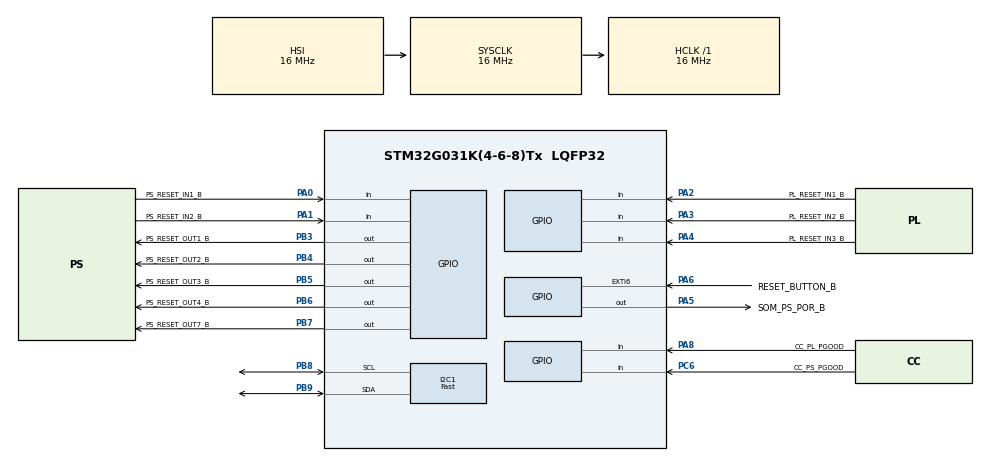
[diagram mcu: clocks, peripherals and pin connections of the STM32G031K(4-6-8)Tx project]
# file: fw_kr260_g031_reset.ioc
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I2C1.I2C_Speed_Mode=I2C_Fast
I2C1.OwnAddress=0x11
I2C1.Timing=0x00300617
Mcu.Family=STM32G0
Mcu.Name=STM32G031K(4-6-8)Tx
Mcu.Package=LQFP32
NVIC.EXTI4_15_IRQn=true\:0\:0\:false\:false\:true\:true\:true\:true
NVIC.I2C1_IRQn=true\:0\:0\:false\:false\:true\:true\:true\:true
PA0.GPIO_Label=PS_RESET_IN1_B
PA0.Signal=GPIO_Input
PA1.GPIO_Label=PS_RESET_IN2_B
PA1.Signal=GPIO_Input
PA2.GPIO_Label=PL_RESET_IN1_B
PA2.Signal=GPIO_Input
PA3.GPIO_Label=PL_RESET_IN2_B
PA3.Signal=GPIO_Input
PA4.GPIO_Label=PL_RESET_IN3_B
PA4.Signal=GPIO_Input
PA5.GPIO_Label=SOM_PS_POR_B
PA5.GPIO_ModeDefaultOutputPP=GPIO_MODE_OUTPUT_OD
PA5.GPIO_PuPd=GPIO_NOPULL
PA5.Signal=GPIO_Output
PA6.GPIO_Label=RESET_BUTTON_B
PA6.GPIO_ModeDefaultEXTI=GPIO_MODE_IT_RISING_FALLING
PA6.GPIO_PuPd=GPIO_PULLUP
PA6.Signal=GPXTI6
PA8.GPIO_Label=CC_PL_PGOOD
PA8.GPIO_PuPd=GPIO_PULLUP
PA8.Signal=GPIO_Input
PB3.GPIO_Label=PS_RESET_OUT1_B
PB3.GPIO_ModeDefaultOutputPP=GPIO_MODE_OUTPUT_OD
PB3.GPIO_PuPd=GPIO_NOPULL
PB3.Signal=GPIO_Output
PB4.GPIO_Label=PS_RESET_OUT2_B
PB4.GPIO_ModeDefaultOutputPP=GPIO_MODE_OUTPUT_OD
PB4.GPIO_PuPd=GPIO_NOPULL
PB4.Signal=GPIO_Output
PB5.GPIO_Label=PS_RESET_OUT3_B
PB5.GPIO_ModeDefaultOutputPP=GPIO_MODE_OUTPUT_OD
PB5.GPIO_PuPd=GPIO_NOPULL
PB5.Signal=GPIO_Output
PB6.GPIO_Label=PS_RESET_OUT4_B
PB6.GPIO_ModeDefaultOutputPP=GPIO_MODE_OUTPUT_OD
PB6.GPIO_PuPd=GPIO_NOPULL
PB6.Signal=GPIO_Output
PB7.GPIO_Label=PS_RESET_OUT7_B
PB7.GPIO_ModeDefaultOutputPP=GPIO_MODE_OUTPUT_OD
PB7.GPIO_PuPd=GPIO_NOPULL
PB7.Signal=GPIO_Output
PB8.Mode=I2C
PB8.Signal=I2C1_SCL
PB9.Mode=I2C
PB9.Signal=I2C1_SDA
PC6.GPIO_Label=CC_PS_PGOOD
PC6.Signal=GPIO_Input
ProjectManager.HeapSize=0x200
ProjectManager.StackSize=0x400
ProjectManager.TargetToolchain=CMake
RCC.AHBFreq_Value=16000000
RCC.CortexFreq_Value=16000000
RCC.EXTERNAL_CLOCK_VALUE=12288000
RCC.HCLKFreq_Value=16000000
RCC.HSE_VALUE=8000000
RCC.HSI_VALUE=16000000
RCC.LSE_VALUE=32768
RCC.SYSCLKFreq_VALUE=16000000
RCC.VCOOutputFreq_Value=128000000
board=NUCLEO-G031K8

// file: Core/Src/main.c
/* USER CODE BEGIN Header */
/**
 ******************************************************************************
 * @file           : main.c
 * @brief          : Main program body
 ******************************************************************************
 * @attention
 *
 * Copyright (c) 2026 STMicroelectronics.
 * All rights reserved.
 *
 * This software is licensed under terms that can be found in the LICENSE file
 * in the root directory of this software component.
 * If no LICENSE file comes with this software, it is provided AS-IS.
 *
 ******************************************************************************
 */
/* USER CODE END Header */
#include "main.h"

/* USER CODE BEGIN PTD */
typedef enum {
  RESET_CTRL_I2C_RECOVER_NONE = 0U,
  RESET_CTRL_I2C_RECOVER_LISTEN_ENABLE_FAIL = 1U,
  RESET_CTRL_I2C_RECOVER_LISTEN_BAD_STATE = 2U,
  RESET_CTRL_I2C_RECOVER_ADDR_RX_SETUP_FAIL = 3U,
  RESET_CTRL_I2C_RECOVER_ADDR_TX_SETUP_FAIL = 4U,
  RESET_CTRL_I2C_RECOVER_RX_DATA_SETUP_FAIL = 5U,
  RESET_CTRL_I2C_RECOVER_ERROR_CALLBACK = 6U
} ResetController_I2CRecoverReason;

/* USER CODE END PTD */

/* USER CODE BEGIN PD */
#define SLG_BASE_I2C_ADDRESS_7BIT 0x10U
#define SLG_BLOCK1_I2C_ADDRESS_7BIT 0x11U
#define SLG_VIRTUAL_OUT_REG_ADDR 0x01DBU
#define SLG_VIRTUAL_OUT_WORD_ADDR 0xDBU
#define SLG_VIRTUAL_OUT_MASK 0x7FU
#define SLG_VIRTUAL_OUT_DEFAULT 0x7FU
#define RESET_BUTTON_DEBOUNCE_MS 25U
#define RESET_OUTPUT_RELEASE_DELAY_MS 25U

#define SLG_VOUT0_BIT (1U << 0)
#define SLG_VOUT1_BIT (1U << 1)
#define SLG_VOUT2_BIT (1U << 2)
#define SLG_VOUT3_BIT (1U << 3)
#define SLG_VOUT6_BIT (1U << 6)

/* USER CODE END PD */

I2C_HandleTypeDef hi2c1;

/* USER CODE BEGIN PV */
static volatile uint16_t reset_ctrl_reg_index = SLG_VIRTUAL_OUT_REG_ADDR;
static volatile uint16_t reset_ctrl_i2c_block_base = 0U;
static volatile uint8_t reset_ctrl_rx_is_word_address = 1U;
static volatile uint8_t reset_ctrl_rx_byte = 0U;
static volatile uint8_t reset_ctrl_tx_byte = 0U;
static volatile uint8_t reset_ctrl_virtual_out = SLG_VIRTUAL_OUT_DEFAULT;
static volatile uint8_t reset_ctrl_i2c_recover_requested = 0U;
static volatile uint32_t reset_ctrl_i2c_recover_count = 0U;
static volatile uint32_t reset_ctrl_i2c_last_error = 0U;
static volatile uint32_t reset_ctrl_i2c_last_isr = 0U;
static volatile uint32_t reset_ctrl_i2c_last_state = 0U;
static volatile uint8_t reset_ctrl_i2c_last_recover_reason = RESET_CTRL_I2C_RECOVER_NONE;
static volatile uint8_t reset_ctrl_i2c_last_hal_status = HAL_OK;
static volatile uint8_t reset_button_sample = 0U;
static volatile uint8_t reset_button_debounced = 0U;
static volatile uint32_t reset_button_last_change_tick = 0U;
static volatile uint32_t reset_outputs_release_tick = 0U;
static volatile uint8_t reset_outputs_release_pending = 0U;

/* USER CODE END PV */

void SystemClock_Config(void);
static void MX_GPIO_Init(void);
static void MX_I2C1_Init(void);
/* USER CODE BEGIN PFP */
static void ResetController_InitDebounce(void);
static void ResetController_Service(void);
static void ResetController_StartI2CListen(void);
static void ResetController_ServiceI2C(void);
static void ResetController_RequestI2CRecover(
    I2C_HandleTypeDef *hi2c, ResetController_I2CRecoverReason reason,
    HAL_StatusTypeDef hal_status);
static uint8_t ResetController_ReadRegister(uint16_t reg);
static void ResetController_WriteRegister(uint16_t reg, uint8_t value);
static uint16_t ResetController_NormalizeRegisterAddress(uint16_t reg);
static uint16_t ResetController_BlockBaseFromAddress(uint16_t addr_match_code);
static void ResetController_ApplyOutputs(void);
static uint8_t ResetController_ReadPinHigh(GPIO_TypeDef *gpio_port,
                                           uint16_t gpio_pin);
static void ResetController_SetOpenDrainReset(GPIO_TypeDef *gpio_port,
                                              uint16_t gpio_pin,
                                              uint8_t release_reset);
static void ResetController_HandleResetButtonInterrupt(void);
static uint8_t ResetController_ResetButtonReleased(void);
static uint8_t ResetController_PsPorReleased(void);
static uint8_t ResetController_PsOutputsMayRelease(void);

/* USER CODE END PFP */

int main(void) {

  /* MCU Configuration--------------------------------------------------------*/

  /* Reset of all peripherals, Initializes the Flash interface and the Systick.
   */
  HAL_Init();

  /* Configure the system clock */
  SystemClock_Config();

  /* Initialize all configured peripherals */
  MX_GPIO_Init();
  MX_I2C1_Init();
  /* USER CODE BEGIN 2 */
  ResetController_InitDebounce();
  ResetController_ApplyOutputs();
  ResetController_StartI2CListen();

  HAL_GPIO_WritePin(SOM_PS_POR_B_GPIO_Port, SOM_PS_POR_B_Pin, GPIO_PIN_RESET);
  HAL_Delay(RESET_OUTPUT_RELEASE_DELAY_MS);
  ResetController_ApplyOutputs();

  /* USER CODE END 2 */

  /* Infinite loop */
  while (1) {

    /* USER CODE BEGIN 3 */
    ResetController_Service();
  }
  /* USER CODE END 3 */
}

void SystemClock_Config(void) {
  RCC_OscInitTypeDef RCC_OscInitStruct = {0};
  RCC_ClkInitTypeDef RCC_ClkInitStruct = {0};

  /** Configure the main internal regulator output voltage
   */
  HAL_PWREx_ControlVoltageScaling(PWR_REGULATOR_VOLTAGE_SCALE1);

  /** Initializes the RCC Oscillators according to the specified parameters
   * in the RCC_OscInitTypeDef structure.
   */
  RCC_OscInitStruct.OscillatorType = RCC_OSCILLATORTYPE_HSI;
  RCC_OscInitStruct.HSIState = RCC_HSI_ON;
  RCC_OscInitStruct.HSIDiv = RCC_HSI_DIV1;
  RCC_OscInitStruct.HSICalibrationValue = RCC_HSICALIBRATION_DEFAULT;
  RCC_OscInitStruct.PLL.PLLState = RCC_PLL_NONE;
  if (HAL_RCC_OscConfig(&RCC_OscInitStruct) != HAL_OK) {
    Error_Handler();
  }

  /** Initializes the CPU, AHB and APB buses clocks
   */
  RCC_ClkInitStruct.ClockType =
      RCC_CLOCKTYPE_HCLK | RCC_CLOCKTYPE_SYSCLK | RCC_CLOCKTYPE_PCLK1;
  RCC_ClkInitStruct.SYSCLKSource = RCC_SYSCLKSOURCE_HSI;
  RCC_ClkInitStruct.AHBCLKDivider = RCC_SYSCLK_DIV1;
  RCC_ClkInitStruct.APB1CLKDivider = RCC_HCLK_DIV1;

  if (HAL_RCC_ClockConfig(&RCC_ClkInitStruct, FLASH_LATENCY_0) != HAL_OK) {
    Error_Handler();
  }
}

static void MX_I2C1_Init(void) {

  hi2c1.Instance = I2C1;
  hi2c1.Init.Timing = 0x00300617;
  hi2c1.Init.OwnAddress1 = 0x22;
  hi2c1.Init.AddressingMode = I2C_ADDRESSINGMODE_7BIT;
  hi2c1.Init.DualAddressMode = I2C_DUALADDRESS_DISABLE;
  hi2c1.Init.OwnAddress2 = 0;
  hi2c1.Init.OwnAddress2Masks = I2C_OA2_NOMASK;
  hi2c1.Init.GeneralCallMode = I2C_GENERALCALL_DISABLE;
  hi2c1.Init.NoStretchMode = I2C_NOSTRETCH_DISABLE;
  if (HAL_I2C_Init(&hi2c1) != HAL_OK) {
    Error_Handler();
  }

  /** Configure Analogue filter
   */
  if (HAL_I2CEx_ConfigAnalogFilter(&hi2c1, I2C_ANALOGFILTER_ENABLE) != HAL_OK) {
    Error_Handler();
  }

  /** Configure Digital filter
   */
  if (HAL_I2CEx_ConfigDigitalFilter(&hi2c1, 0) != HAL_OK) {
    Error_Handler();
  }
}

static void MX_GPIO_Init(void) {
  GPIO_InitTypeDef GPIO_InitStruct = {0};

  /* GPIO Ports Clock Enable */
  __HAL_RCC_GPIOB_CLK_ENABLE();
  __HAL_RCC_GPIOA_CLK_ENABLE();
  __HAL_RCC_GPIOC_CLK_ENABLE();

  /*Configure GPIO pin Output Level */
  HAL_GPIO_WritePin(SOM_PS_POR_B_GPIO_Port, SOM_PS_POR_B_Pin, GPIO_PIN_RESET);

  /*Configure GPIO pin Output Level */
  HAL_GPIO_WritePin(GPIOB,
                    PS_RESET_OUT1_B_Pin | PS_RESET_OUT2_B_Pin |
                        PS_RESET_OUT3_B_Pin | PS_RESET_OUT4_B_Pin |
                        PS_RESET_OUT7_B_Pin,
                    GPIO_PIN_RESET);

  /*Configure GPIO pins : PS_RESET_IN1_B_Pin PS_RESET_IN2_B_Pin
     PL_RESET_IN1_B_Pin PL_RESET_IN2_B_Pin PL_RESET_IN3_B_Pin */
  GPIO_InitStruct.Pin = PS_RESET_IN1_B_Pin | PS_RESET_IN2_B_Pin |
                        PL_RESET_IN1_B_Pin | PL_RESET_IN2_B_Pin |
                        PL_RESET_IN3_B_Pin;
  GPIO_InitStruct.Mode = GPIO_MODE_INPUT;
  GPIO_InitStruct.Pull = GPIO_NOPULL;
  HAL_GPIO_Init(GPIOA, &GPIO_InitStruct);

  /*Configure GPIO pin : SOM_PS_POR_B_Pin */
  GPIO_InitStruct.Pin = SOM_PS_POR_B_Pin;
  GPIO_InitStruct.Mode = GPIO_MODE_OUTPUT_OD;
  GPIO_InitStruct.Pull = GPIO_NOPULL;
  GPIO_InitStruct.Speed = GPIO_SPEED_FREQ_LOW;
  HAL_GPIO_Init(SOM_PS_POR_B_GPIO_Port, &GPIO_InitStruct);

  /*Configure GPIO pin : RESET_BUTTON_B_Pin */
  GPIO_InitStruct.Pin = RESET_BUTTON_B_Pin;
  GPIO_InitStruct.Mode = GPIO_MODE_IT_RISING_FALLING;
  GPIO_InitStruct.Pull = GPIO_PULLUP;
  HAL_GPIO_Init(RESET_BUTTON_B_GPIO_Port, &GPIO_InitStruct);

  /*Configure GPIO pin : CC_PL_PGOOD_Pin */
  GPIO_InitStruct.Pin = CC_PL_PGOOD_Pin;
  GPIO_InitStruct.Mode = GPIO_MODE_INPUT;
  GPIO_InitStruct.Pull = GPIO_PULLUP;
  HAL_GPIO_Init(CC_PL_PGOOD_GPIO_Port, &GPIO_InitStruct);

  /*Configure GPIO pin : CC_PS_PGOOD_Pin */
  GPIO_InitStruct.Pin = CC_PS_PGOOD_Pin;
  GPIO_InitStruct.Mode = GPIO_MODE_INPUT;
  GPIO_InitStruct.Pull = GPIO_NOPULL;
  HAL_GPIO_Init(CC_PS_PGOOD_GPIO_Port, &GPIO_InitStruct);

  /*Configure GPIO pins : PS_RESET_OUT1_B_Pin PS_RESET_OUT2_B_Pin
     PS_RESET_OUT3_B_Pin PS_RESET_OUT4_B_Pin PS_RESET_OUT7_B_Pin */
  GPIO_InitStruct.Pin = PS_RESET_OUT1_B_Pin | PS_RESET_OUT2_B_Pin |
                        PS_RESET_OUT3_B_Pin | PS_RESET_OUT4_B_Pin |
                        PS_RESET_OUT7_B_Pin;
  GPIO_InitStruct.Mode = GPIO_MODE_OUTPUT_OD;
  GPIO_InitStruct.Pull = GPIO_NOPULL;
  GPIO_InitStruct.Speed = GPIO_SPEED_FREQ_LOW;
  HAL_GPIO_Init(GPIOB, &GPIO_InitStruct);

  /* EXTI interrupt init*/
  HAL_NVIC_SetPriority(EXTI4_15_IRQn, 0, 0);
  HAL_NVIC_EnableIRQ(EXTI4_15_IRQn);

}

/* USER CODE BEGIN 4 */
static void ResetController_InitDebounce(void) {
  reset_button_sample =
      ResetController_ReadPinHigh(RESET_BUTTON_B_GPIO_Port, RESET_BUTTON_B_Pin);
  reset_button_debounced = reset_button_sample;
  reset_button_last_change_tick = HAL_GetTick();
  reset_outputs_release_tick = HAL_GetTick() + RESET_OUTPUT_RELEASE_DELAY_MS;
  reset_outputs_release_pending = 1U;
}

static void ResetController_Service(void) {
  uint8_t sample =
      ResetController_ReadPinHigh(RESET_BUTTON_B_GPIO_Port, RESET_BUTTON_B_Pin);
  uint32_t now = HAL_GetTick();

  if (sample != reset_button_sample) {
    reset_button_sample = sample;
    reset_button_last_change_tick = now;
  }

  if ((sample != reset_button_debounced) &&
      ((now - reset_button_last_change_tick) >= RESET_BUTTON_DEBOUNCE_MS)) {
    reset_button_debounced = sample;
    ResetController_ApplyOutputs();
  }

  ResetController_ApplyOutputs();
  ResetController_ServiceI2C();
}

static void ResetController_HandleResetButtonInterrupt(void) {
  reset_button_sample =
      ResetController_ReadPinHigh(RESET_BUTTON_B_GPIO_Port, RESET_BUTTON_B_Pin);
  reset_button_last_change_tick = HAL_GetTick();
}

static void ResetController_StartI2CListen(void) {
  if (HAL_I2C_GetState(&hi2c1) == HAL_I2C_STATE_READY) {
    reset_ctrl_rx_is_word_address = 1U;
    if (HAL_I2C_EnableListen_IT(&hi2c1) != HAL_OK) {
      ResetController_RequestI2CRecover(
          &hi2c1, RESET_CTRL_I2C_RECOVER_LISTEN_ENABLE_FAIL, HAL_ERROR);
    }
  } else if (HAL_I2C_GetState(&hi2c1) != HAL_I2C_STATE_LISTEN) {
    ResetController_RequestI2CRecover(
        &hi2c1, RESET_CTRL_I2C_RECOVER_LISTEN_BAD_STATE, HAL_BUSY);
  }
}

static void ResetController_RequestI2CRecover(
    I2C_HandleTypeDef *hi2c, ResetController_I2CRecoverReason reason,
    HAL_StatusTypeDef hal_status) {
  reset_ctrl_i2c_last_recover_reason = (uint8_t)reason;
  reset_ctrl_i2c_last_hal_status = (uint8_t)hal_status;

  if ((hi2c != NULL) && (hi2c->Instance == I2C1)) {
    reset_ctrl_i2c_last_error = HAL_I2C_GetError(hi2c);
    reset_ctrl_i2c_last_isr = hi2c->Instance->ISR;
    reset_ctrl_i2c_last_state = HAL_I2C_GetState(hi2c);
  }

  reset_ctrl_i2c_recover_requested = 1U;
}

static void ResetController_ServiceI2C(void) {
  if (reset_ctrl_i2c_recover_requested == 0U) {
    return;
  }

  reset_ctrl_i2c_recover_requested = 0U;
  reset_ctrl_i2c_recover_count++;

  reset_ctrl_rx_is_word_address = 1U;
  reset_ctrl_i2c_block_base = 0U;
  reset_ctrl_rx_byte = 0U;
  reset_ctrl_tx_byte = 0U;

  (void)HAL_I2C_DeInit(&hi2c1);
  MX_I2C1_Init();
  ResetController_StartI2CListen();
}

static uint8_t ResetController_ReadRegister(uint16_t reg) {
  uint8_t value = 0U;

  switch (ResetController_NormalizeRegisterAddress(reg)) {
  case SLG_VIRTUAL_OUT_REG_ADDR:
    value = reset_ctrl_virtual_out & SLG_VIRTUAL_OUT_MASK;
    break;

  default:
    value = 0xFFU;
    break;
  }

  return value;
}

static void ResetController_WriteRegister(uint16_t reg, uint8_t value) {
  switch (ResetController_NormalizeRegisterAddress(reg)) {
  case SLG_VIRTUAL_OUT_REG_ADDR:
    reset_ctrl_virtual_out = value & SLG_VIRTUAL_OUT_MASK;
    ResetController_ApplyOutputs();
    break;

  default:
    break;
  }
}

static uint16_t ResetController_NormalizeRegisterAddress(uint16_t reg) {
  if ((reg == SLG_VIRTUAL_OUT_REG_ADDR) || (reg == SLG_VIRTUAL_OUT_WORD_ADDR)) {
    return SLG_VIRTUAL_OUT_REG_ADDR;
  }

  return reg;
}

static uint16_t ResetController_BlockBaseFromAddress(uint16_t addr_match_code) {
  if ((addr_match_code == SLG_BLOCK1_I2C_ADDRESS_7BIT) ||
      (addr_match_code == (SLG_BLOCK1_I2C_ADDRESS_7BIT << 1))) {
    return 0x0100U;
  }

  return 0U;
}

static void ResetController_ApplyOutputs(void) {
  uint8_t ps_por_release =
      ResetController_ResetButtonReleased() &&
      ResetController_ReadPinHigh(CC_PS_PGOOD_GPIO_Port, CC_PS_PGOOD_Pin);

  HAL_GPIO_WritePin(SOM_PS_POR_B_GPIO_Port, SOM_PS_POR_B_Pin,
                    (ps_por_release != 0U) ? GPIO_PIN_SET : GPIO_PIN_RESET);

  uint8_t ps_outputs_release = ResetController_PsOutputsMayRelease();

  ResetController_SetOpenDrainReset(
      PS_RESET_OUT1_B_GPIO_Port, PS_RESET_OUT1_B_Pin,
      ResetController_ReadPinHigh(PS_RESET_IN1_B_GPIO_Port,
                                  PS_RESET_IN1_B_Pin) &&
          ps_outputs_release &&
          ((reset_ctrl_virtual_out & SLG_VOUT0_BIT) != 0U));
  ResetController_SetOpenDrainReset(
      PS_RESET_OUT2_B_GPIO_Port, PS_RESET_OUT2_B_Pin,
      ResetController_ReadPinHigh(PS_RESET_IN2_B_GPIO_Port,
                                  PS_RESET_IN2_B_Pin) &&
          ps_outputs_release &&
          ((reset_ctrl_virtual_out & SLG_VOUT1_BIT) != 0U));
  ResetController_SetOpenDrainReset(
      PS_RESET_OUT3_B_GPIO_Port, PS_RESET_OUT3_B_Pin,
      ps_outputs_release && ((reset_ctrl_virtual_out & SLG_VOUT2_BIT) != 0U));
  ResetController_SetOpenDrainReset(
      PS_RESET_OUT4_B_GPIO_Port, PS_RESET_OUT4_B_Pin,
      ps_outputs_release && ((reset_ctrl_virtual_out & SLG_VOUT3_BIT) != 0U));
  ResetController_SetOpenDrainReset(
      PS_RESET_OUT7_B_GPIO_Port, PS_RESET_OUT7_B_Pin,
      ps_outputs_release && ((reset_ctrl_virtual_out & SLG_VOUT6_BIT) != 0U));
}

static uint8_t ResetController_ReadPinHigh(GPIO_TypeDef *gpio_port,
                                           uint16_t gpio_pin) {
  return (HAL_GPIO_ReadPin(gpio_port, gpio_pin) == GPIO_PIN_SET) ? 1U : 0U;
}

static void ResetController_SetOpenDrainReset(GPIO_TypeDef *gpio_port,
                                              uint16_t gpio_pin,
                                              uint8_t release_reset) {
  HAL_GPIO_WritePin(gpio_port, gpio_pin,
                    (release_reset != 0U) ? GPIO_PIN_SET : GPIO_PIN_RESET);
}

static uint8_t ResetController_ResetButtonReleased(void) {
  return (reset_button_debounced != 0U) ? 1U : 0U;
}

static uint8_t ResetController_PsPorReleased(void) {
  return ResetController_ReadPinHigh(SOM_PS_POR_B_GPIO_Port, SOM_PS_POR_B_Pin);
}

static uint8_t ResetController_PsOutputsMayRelease(void) {
  uint8_t stable_inputs =
      ResetController_ReadPinHigh(CC_PS_PGOOD_GPIO_Port, CC_PS_PGOOD_Pin) &&
      ResetController_PsPorReleased() && ResetController_ResetButtonReleased();
  uint32_t now = HAL_GetTick();

  if (stable_inputs == 0U) {
    reset_outputs_release_pending = 1U;
    reset_outputs_release_tick = now + RESET_OUTPUT_RELEASE_DELAY_MS;
    return 0U;
  }

  if (reset_outputs_release_pending != 0U) {
    if ((int32_t)(now - reset_outputs_release_tick) < 0) {
      return 0U;
    }

    reset_outputs_release_pending = 0U;
  }

  return 1U;
}

void HAL_I2C_AddrCallback(I2C_HandleTypeDef *hi2c, uint8_t TransferDirection,
                          uint16_t AddrMatchCode) {
  HAL_StatusTypeDef status = HAL_OK;

  if (hi2c->Instance != I2C1) {
    return;
  }

  reset_ctrl_i2c_block_base =
      ResetController_BlockBaseFromAddress(AddrMatchCode);

  if (TransferDirection == I2C_DIRECTION_TRANSMIT) {
    reset_ctrl_rx_is_word_address = 1U;
    status = HAL_I2C_Slave_Seq_Receive_IT(
        hi2c, (uint8_t *)&reset_ctrl_rx_byte, 1U, I2C_FIRST_FRAME);
    if (status != HAL_OK) {
      ResetController_RequestI2CRecover(
          hi2c, RESET_CTRL_I2C_RECOVER_ADDR_RX_SETUP_FAIL, status);
    }
  } else {
    reset_ctrl_tx_byte = ResetController_ReadRegister(reset_ctrl_reg_index);
    status = HAL_I2C_Slave_Seq_Transmit_IT(
        hi2c, (uint8_t *)&reset_ctrl_tx_byte, 1U, I2C_FIRST_AND_LAST_FRAME);
    if (status != HAL_OK) {
      ResetController_RequestI2CRecover(
          hi2c, RESET_CTRL_I2C_RECOVER_ADDR_TX_SETUP_FAIL, status);
    }
  }
}

void HAL_I2C_SlaveRxCpltCallback(I2C_HandleTypeDef *hi2c) {
  HAL_StatusTypeDef status = HAL_OK;

  if (hi2c->Instance != I2C1) {
    return;
  }

  if (reset_ctrl_rx_is_word_address != 0U) {
    reset_ctrl_reg_index = reset_ctrl_i2c_block_base | reset_ctrl_rx_byte;
    reset_ctrl_rx_is_word_address = 0U;
    status = HAL_I2C_Slave_Seq_Receive_IT(
        hi2c, (uint8_t *)&reset_ctrl_rx_byte, 1U, I2C_NEXT_FRAME);
    if (status != HAL_OK) {
      ResetController_RequestI2CRecover(
          hi2c, RESET_CTRL_I2C_RECOVER_RX_DATA_SETUP_FAIL, status);
    }
  } else {
    ResetController_WriteRegister(reset_ctrl_reg_index, reset_ctrl_rx_byte);
    reset_ctrl_reg_index++;
  }
}

void HAL_I2C_SlaveTxCpltCallback(I2C_HandleTypeDef *hi2c) {
  if (hi2c->Instance != I2C1) {
    return;
  }

  reset_ctrl_reg_index++;
}

void HAL_I2C_ListenCpltCallback(I2C_HandleTypeDef *hi2c) {
  if (hi2c->Instance != I2C1) {
    return;
  }

  reset_ctrl_rx_is_word_address = 1U;
  ResetController_StartI2CListen();
}

void HAL_I2C_ErrorCallback(I2C_HandleTypeDef *hi2c) {
  uint32_t error_code = 0U;

  if (hi2c->Instance != I2C1) {
    return;
  }

  reset_ctrl_rx_is_word_address = 1U;
  error_code = HAL_I2C_GetError(hi2c);
  reset_ctrl_i2c_last_error = error_code;
  reset_ctrl_i2c_last_isr = hi2c->Instance->ISR;

  if ((error_code & ~HAL_I2C_ERROR_AF) == HAL_I2C_ERROR_NONE) {
    ResetController_StartI2CListen();
  } else {
    ResetController_RequestI2CRecover(
        hi2c, RESET_CTRL_I2C_RECOVER_ERROR_CALLBACK, HAL_ERROR);
  }
}

void HAL_GPIO_EXTI_Rising_Callback(uint16_t GPIO_Pin) {
  if (GPIO_Pin == RESET_BUTTON_B_Pin) {
    ResetController_HandleResetButtonInterrupt();
  }
}

void HAL_GPIO_EXTI_Falling_Callback(uint16_t GPIO_Pin) {
  if (GPIO_Pin == RESET_BUTTON_B_Pin) {
    ResetController_HandleResetButtonInterrupt();
  }
}

/* USER CODE END 4 */

void Error_Handler(void) {
  __disable_irq();
  while (1) {
  }
}
#ifdef USE_FULL_ASSERT
/**
 * @brief  Reports the name of the source file and the source line number
 *         where the assert_param error has occurred.
 * @param  file: pointer to the source file name
 * @param  line: assert_param error line source number
 * @retval None
 */
void assert_failed(uint8_t *file, uint32_t line) {
  /* USER CODE BEGIN 6 */
  /* User can add his own implementation to report the file name and line
     number, ex: printf("Wrong parameters value: file %s on line %d\r\n", file,
     line) */
  /* USER CODE END 6 */
}
#endif /* USE_FULL_ASSERT */
